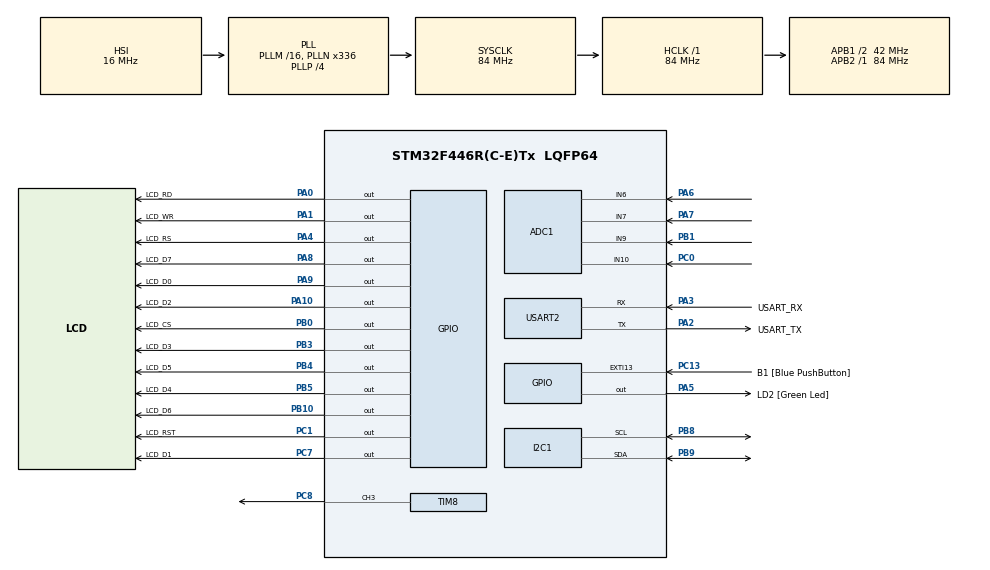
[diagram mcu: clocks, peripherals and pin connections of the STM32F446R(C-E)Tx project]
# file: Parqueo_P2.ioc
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ADC1.Channel-0\#ChannelRegularConversion=ADC_CHANNEL_6
ADC1.Channel-1\#ChannelRegularConversion=ADC_CHANNEL_7
ADC1.Channel-2\#ChannelRegularConversion=ADC_CHANNEL_9
ADC1.Channel-3\#ChannelRegularConversion=ADC_CHANNEL_10
ADC1.NbrOfConversion=4
ADC1.NbrOfConversionFlag=1
ADC1.Rank-0\#ChannelRegularConversion=1
ADC1.Rank-1\#ChannelRegularConversion=2
ADC1.Rank-2\#ChannelRegularConversion=3
ADC1.Rank-3\#ChannelRegularConversion=4
ADC1.SamplingTime-0\#ChannelRegularConversion=ADC_SAMPLETIME_3CYCLES
ADC1.SamplingTime-1\#ChannelRegularConversion=ADC_SAMPLETIME_3CYCLES
ADC1.SamplingTime-2\#ChannelRegularConversion=ADC_SAMPLETIME_3CYCLES
ADC1.SamplingTime-3\#ChannelRegularConversion=ADC_SAMPLETIME_3CYCLES
ADC1.master=1
Dma.ADC1.0.Direction=DMA_PERIPH_TO_MEMORY
Dma.ADC1.0.FIFOMode=DMA_FIFOMODE_DISABLE
Dma.ADC1.0.Instance=DMA2_Stream0
Dma.ADC1.0.MemDataAlignment=DMA_MDATAALIGN_WORD
Dma.ADC1.0.MemInc=DMA_MINC_ENABLE
Dma.ADC1.0.Mode=DMA_CIRCULAR
Dma.ADC1.0.PeriphDataAlignment=DMA_PDATAALIGN_WORD
Dma.ADC1.0.PeriphInc=DMA_PINC_DISABLE
Dma.ADC1.0.Priority=DMA_PRIORITY_LOW
Dma.Request0=ADC1
Dma.Request1=TIM8_CH3
Dma.TIM8_CH3.1.Direction=DMA_PERIPH_TO_MEMORY
Dma.TIM8_CH3.1.FIFOMode=DMA_FIFOMODE_DISABLE
Dma.TIM8_CH3.1.Instance=DMA2_Stream4
Dma.TIM8_CH3.1.MemDataAlignment=DMA_MDATAALIGN_HALFWORD
Dma.TIM8_CH3.1.MemInc=DMA_MINC_ENABLE
Dma.TIM8_CH3.1.Mode=DMA_NORMAL
Dma.TIM8_CH3.1.PeriphDataAlignment=DMA_PDATAALIGN_HALFWORD
Dma.TIM8_CH3.1.PeriphInc=DMA_PINC_DISABLE
Dma.TIM8_CH3.1.Priority=DMA_PRIORITY_LOW
Mcu.Family=STM32F4
Mcu.Name=STM32F446R(C-E)Tx
Mcu.Package=LQFP64
NVIC.DMA2_Stream0_IRQn=true\:0\:0\:false\:false\:true\:false\:true\:true
NVIC.DMA2_Stream4_IRQn=true\:0\:0\:false\:false\:true\:false\:true\:true
NVIC.PriorityGroup=NVIC_PRIORITYGROUP_0
NVIC.USART2_IRQn=true\:0\:0\:false\:false\:true\:true\:true\:true
PA0-WKUP.GPIO_Label=LCD_RD
PA0-WKUP.GPIO_Speed=GPIO_SPEED_FREQ_VERY_HIGH
PA0-WKUP.Signal=GPIO_Output
PA1.GPIO_Label=LCD_WR
PA1.GPIO_Speed=GPIO_SPEED_FREQ_VERY_HIGH
PA1.Signal=GPIO_Output
PA10.GPIO_Label=LCD_D2
PA10.GPIO_Speed=GPIO_SPEED_FREQ_VERY_HIGH
PA10.Signal=GPIO_Output
PA13.GPIO_Label=TMS
PA13.Mode=Serial_Wire
PA13.Signal=SYS_JTMS-SWDIO
PA14.GPIO_Label=TCK
PA14.Mode=Serial_Wire
PA14.Signal=SYS_JTCK-SWCLK
PA2.GPIO_Label=USART_TX
PA2.Mode=Asynchronous
PA2.Signal=USART2_TX
PA3.GPIO_Label=USART_RX
PA3.Mode=Asynchronous
PA3.Signal=USART2_RX
PA4.GPIO_Label=LCD_RS
PA4.GPIO_Speed=GPIO_SPEED_FREQ_VERY_HIGH
PA4.Signal=GPIO_Output
PA5.GPIO_Label=LD2 [Green Led]
PA5.Signal=GPIO_Output
PA6.Signal=ADCx_IN6
PA7.Signal=ADCx_IN7
PA8.GPIO_Label=LCD_D7
PA8.GPIO_Speed=GPIO_SPEED_FREQ_VERY_HIGH
PA8.Signal=GPIO_Output
PA9.GPIO_Label=LCD_D0
PA9.GPIO_Speed=GPIO_SPEED_FREQ_VERY_HIGH
PA9.Signal=GPIO_Output
PB0.GPIO_Label=LCD_CS
PB0.GPIO_Speed=GPIO_SPEED_FREQ_VERY_HIGH
PB0.Signal=GPIO_Output
PB1.Signal=ADCx_IN9
PB10.GPIO_Label=LCD_D6
PB10.GPIO_Speed=GPIO_SPEED_FREQ_VERY_HIGH
PB10.Signal=GPIO_Output
PB3.GPIO_Label=LCD_D3
PB3.GPIO_Speed=GPIO_SPEED_FREQ_VERY_HIGH
PB3.Signal=GPIO_Output
PB4.GPIO_Label=LCD_D5
PB4.GPIO_Speed=GPIO_SPEED_FREQ_VERY_HIGH
PB4.Signal=GPIO_Output
PB5.GPIO_Label=LCD_D4
PB5.GPIO_Speed=GPIO_SPEED_FREQ_VERY_HIGH
PB5.Signal=GPIO_Output
PB8.Mode=I2C
PB8.Signal=I2C1_SCL
PB9.Mode=I2C
PB9.Signal=I2C1_SDA
PC0.Signal=ADCx_IN10
PC1.GPIO_Label=LCD_RST
PC1.GPIO_Speed=GPIO_SPEED_FREQ_VERY_HIGH
PC1.Signal=GPIO_Output
PC13.GPIO_Label=B1 [Blue PushButton]
PC13.GPIO_ModeDefaultEXTI=GPIO_MODE_IT_FALLING
PC13.Signal=GPXTI13
PC14-OSC32_IN.Mode=LSE-External-Oscillator
PC14-OSC32_IN.Signal=RCC_OSC32_IN
PC15-OSC32_OUT.Mode=LSE-External-Oscillator
PC15-OSC32_OUT.Signal=RCC_OSC32_OUT
PC7.GPIO_Label=LCD_D1
PC7.GPIO_Speed=GPIO_SPEED_FREQ_VERY_HIGH
PC7.Signal=GPIO_Output
PC8.GPIO_Speed=GPIO_SPEED_FREQ_VERY_HIGH
PC8.Signal=S_TIM8_CH3
PH0-OSC_IN.Mode=HSE-External-Oscillator
PH0-OSC_IN.Signal=RCC_OSC_IN
PH1-OSC_OUT.Mode=HSE-External-Oscillator
PH1-OSC_OUT.Signal=RCC_OSC_OUT
ProjectManager.HeapSize=0x200
ProjectManager.StackSize=0x400
ProjectManager.TargetToolchain=STM32CubeIDE
RCC.48MHZClocksFreq_Value=84000000
RCC.AHBFreq_Value=84000000
RCC.APB1CLKDivider=RCC_HCLK_DIV2
RCC.APB1Freq_Value=42000000
RCC.APB1TimFreq_Value=84000000
RCC.APB2Freq_Value=84000000
RCC.APB2TimFreq_Value=84000000
RCC.CortexFreq_Value=84000000
RCC.FLatency-AdvancedSettings=FLASH_LATENCY_2
RCC.HCLKFreq_Value=84000000
RCC.HSE_VALUE=8000000
RCC.HSI_VALUE=16000000
RCC.PLLN=336
RCC.PLLP=RCC_PLLP_DIV4
RCC.SYSCLKFreq_VALUE=84000000
RCC.SYSCLKSource=RCC_SYSCLKSOURCE_PLLCLK
RCC.USBFreq_Value=168000000
RCC.VCOOutputFreq_Value=336000000
SH.ADCx_IN10.0=ADC1_IN10,IN10
SH.ADCx_IN6.0=ADC1_IN6,IN6
SH.ADCx_IN7.0=ADC1_IN7,IN7
SH.ADCx_IN9.0=ADC1_IN9,IN9
SH.S_TIM8_CH3.0=TIM8_CH3,PWM Generation3 CH3
TIM8.Channel-PWM\ Generation3\ CH3=TIM_CHANNEL_3
TIM8.Period=105-1
TIM8.Prescaler=1-1
USART2.VirtualMode=VM_ASYNC
board=NUCLEO-F446RE

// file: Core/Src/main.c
/* USER CODE BEGIN Header */
/**
  ******************************************************************************
  * @file           : main.c
  * @brief          : Main program body
  ******************************************************************************
  * @attention
  *
  * Copyright (c) 2026 STMicroelectronics.
  * All rights reserved.
  *
  * This software is licensed under terms that can be found in the LICENSE file
  * in the root directory of this software component.
  * If no LICENSE file comes with this software, it is provided AS-IS.
  *
  ******************************************************************************
  */
/* USER CODE END Header */
#include "main.h"

/* USER CODE BEGIN Includes */
#include "ili9341.h"
#include "parqueo_gui.h"
#include "font.h"
#include "assets.h"  // Si vas a usar imágenes
#include <stdio.h>   // Para manejo de strings si usas sprintf
#include "neopixel.h"
/* USER CODE END Includes */

ADC_HandleTypeDef hadc1;
DMA_HandleTypeDef hdma_adc1;

I2C_HandleTypeDef hi2c1;

TIM_HandleTypeDef htim8;
DMA_HandleTypeDef hdma_tim8_ch3;

UART_HandleTypeDef huart2;

/* USER CODE BEGIN PV */
uint8_t estado_parqueo[8] = {0,0,0,0,0,0,0,0}; // Array maestro
uint8_t actualizar_pantalla = 0; // Bandera para el main

// Variables para ADC y NeoPixels del Maestro
uint32_t adc_buffer_maestro[4];
const uint32_t LDR_THRESHOLD = 2000;

// Variable global exigida por la librería neopixel.c
float brilloled = 50.0f; // Inicializado al 50% de brillo

// Variables para la máquina de estados UART
uint8_t byte_rx;
char cmd_letra = 0;
/* USER CODE END PV */

void SystemClock_Config(void);
static void MX_GPIO_Init(void);
static void MX_DMA_Init(void);
static void MX_USART2_UART_Init(void);
static void MX_ADC1_Init(void);
static void MX_I2C1_Init(void);
static void MX_TIM8_Init(void);

int main(void)
{

  /* MCU Configuration--------------------------------------------------------*/

  /* Reset of all peripherals, Initializes the Flash interface and the Systick. */
  HAL_Init();

  /* Configure the system clock */
  SystemClock_Config();

  /* Initialize all configured peripherals */
  MX_GPIO_Init();
  MX_DMA_Init();
  MX_USART2_UART_Init();
  MX_ADC1_Init();
  MX_I2C1_Init();
  MX_TIM8_Init();
  /* USER CODE BEGIN 2 */
  // 1. Inicializar la pantalla y pintar el estado inicial
  LCD_Init();
  GUI_Inicializar();
  GUI_Actualizar(estado_parqueo);

  // 2. Inicializar los nuevos NeoPixels
  pixelClear();
  setBrightness(50);
  __HAL_TIM_MOE_ENABLE(&htim8); // Habilitación obligatoria para TIM8

  // 3. Iniciar lectura continua de los 4 sensores físicos
  HAL_ADC_Start_DMA(&hadc1, (uint32_t*)adc_buffer_maestro, 4);

  // 4. Iniciar la escucha del primer byte por UART
  HAL_UART_Receive_IT(&huart2, &byte_rx, 1);
  /* USER CODE END 2 */

  /* Infinite loop */
  /* USER CODE BEGIN WHILE */
  while (1)
  {
	  HAL_ADC_Start_DMA(&hadc1, (uint32_t*)adc_buffer_maestro, 4);

      uint8_t estado_esclavo = 0;
      uint8_t estado_anterior[8];
      uint8_t actualizar_pantalla = 0; // Asegurar inicialización

      // 0. Guardamos una copia del estado actual
      for(int i = 0; i < 8; i++) {
          estado_anterior[i] = estado_parqueo[i];
      }

      // 1. LEER SENSORES LOCALES Y ACTUALIZAR NEOPIXELS (Cajones 1 al 4)
      // NOTA: Si notas parpadeo en la pantalla, considera agregar una pequeña histéresis aquí
      for (int i = 0; i < 4; i++) {
          if (adc_buffer_maestro[i] < LDR_THRESHOLD) {
              estado_parqueo[i] = 1; // Ocupado
              setPixelColor(i, 255, 0, 0);
          } else {
              estado_parqueo[i] = 0; // Libre
              setPixelColor(i, 0, 255, 0);
          }
      }

      // =================================================================
      // 1.5 TRANSMISIÓN DE LA TABLA POR UART (¡Ahora correrá continuo!)
      // =================================================================
      uint8_t state = (estado_parqueo[3] << 3) | (estado_parqueo[2] << 2) | (estado_parqueo[1] << 1) | estado_parqueo[0];
      char uart_buf[100];
      sprintf(uart_buf, "| CH0: %04lu | CH1: %04lu | CH2: %04lu | CH3: %04lu | SENSORS: %d%d%d%d | HEX: 0x%X |\r\n",
              adc_buffer_maestro[0], adc_buffer_maestro[1], adc_buffer_maestro[2], adc_buffer_maestro[3],
              estado_parqueo[3], estado_parqueo[2], estado_parqueo[1], estado_parqueo[0],
              state);

      // Transmisión UART con timeout corto (10ms es más que suficiente para 100 bytes a 115200bps)
      HAL_UART_Transmit(&huart2, (uint8_t*)uart_buf, strlen(uart_buf), 10);
      // =================================================================

      //pixelShow(); BLOQUEANTEEEE!!!!!

      // 2. SOLICITAR DATOS I2C A LA NUCLEO 2 (Dirección 36)
      // Reducimos el timeout a 10ms para que no congele el loop principal
      if (HAL_I2C_Master_Receive(&hi2c1, 36, &estado_esclavo, 1, 10) == HAL_OK) {

          // El esclavo respondió con éxito, procesamos sus datos
          estado_parqueo[4] = (estado_esclavo & 0x01) ? 1 : 0;
          estado_parqueo[5] = (estado_esclavo & 0x02) ? 1 : 0;
          estado_parqueo[6] = (estado_esclavo & 0x04) ? 1 : 0;
          estado_parqueo[7] = (estado_esclavo & 0x08) ? 1 : 0;

          // 3. CALCULAR EL TOTAL DE ESPACIOS LIBRES GLOBALES
          uint8_t libres_totales = 0;
          for (int i = 0; i < 8; i++) {
              if (estado_parqueo[i] == 0) {
                  libres_totales++;
              }
          }

          // 4. ENVIAR EL TOTAL AL ESCLAVO (Solo se ejecuta si el esclavo está vivo)
          HAL_I2C_Master_Transmit(&hi2c1, 36, &libres_totales, 1, 10);
      }
      else {
          // CORRECCIÓN CRÍTICA: Si el I2C falla, reiniciamos el periférico
          // para evitar que el HAL se quede trabado en el estado BUSY para siempre.
          __HAL_I2C_DISABLE(&hi2c1);
          __HAL_I2C_ENABLE(&hi2c1);
      }

      // 5. EVALUAR SI HUBO CAMBIOS PARA LA INTERFAZ GRÁFICA
      for(int i = 0; i < 8; i++) {
          if(estado_anterior[i] != estado_parqueo[i]) {
              actualizar_pantalla = 1;
              break;
          }
      }

      if (actualizar_pantalla) {
          GUI_Actualizar(estado_parqueo);
          actualizar_pantalla = 0;
      }

      // 7. RITMO DEL SISTEMA
      HAL_Delay(50);

    /* USER CODE END WHILE */

  }
}

void SystemClock_Config(void)
{
  RCC_OscInitTypeDef RCC_OscInitStruct = {0};
  RCC_ClkInitTypeDef RCC_ClkInitStruct = {0};

  /** Configure the main internal regulator output voltage
  */
  __HAL_RCC_PWR_CLK_ENABLE();
  __HAL_PWR_VOLTAGESCALING_CONFIG(PWR_REGULATOR_VOLTAGE_SCALE3);

  /** Initializes the RCC Oscillators according to the specified parameters
  * in the RCC_OscInitTypeDef structure.
  */
  RCC_OscInitStruct.OscillatorType = RCC_OSCILLATORTYPE_HSI;
  RCC_OscInitStruct.HSIState = RCC_HSI_ON;
  RCC_OscInitStruct.HSICalibrationValue = RCC_HSICALIBRATION_DEFAULT;
  RCC_OscInitStruct.PLL.PLLState = RCC_PLL_ON;
  RCC_OscInitStruct.PLL.PLLSource = RCC_PLLSOURCE_HSI;
  RCC_OscInitStruct.PLL.PLLM = 16;
  RCC_OscInitStruct.PLL.PLLN = 336;
  RCC_OscInitStruct.PLL.PLLP = RCC_PLLP_DIV4;
  RCC_OscInitStruct.PLL.PLLQ = 2;
  RCC_OscInitStruct.PLL.PLLR = 2;
  if (HAL_RCC_OscConfig(&RCC_OscInitStruct) != HAL_OK)
  {
    Error_Handler();
  }

  /** Initializes the CPU, AHB and APB buses clocks
  */
  RCC_ClkInitStruct.ClockType = RCC_CLOCKTYPE_HCLK|RCC_CLOCKTYPE_SYSCLK
                              |RCC_CLOCKTYPE_PCLK1|RCC_CLOCKTYPE_PCLK2;
  RCC_ClkInitStruct.SYSCLKSource = RCC_SYSCLKSOURCE_PLLCLK;
  RCC_ClkInitStruct.AHBCLKDivider = RCC_SYSCLK_DIV1;
  RCC_ClkInitStruct.APB1CLKDivider = RCC_HCLK_DIV2;
  RCC_ClkInitStruct.APB2CLKDivider = RCC_HCLK_DIV1;

  if (HAL_RCC_ClockConfig(&RCC_ClkInitStruct, FLASH_LATENCY_2) != HAL_OK)
  {
    Error_Handler();
  }
}

static void MX_ADC1_Init(void)
{

  ADC_ChannelConfTypeDef sConfig = {0};

  /** Configure the global features of the ADC (Clock, Resolution, Data Alignment and number of conversion)
  */
  hadc1.Instance = ADC1;
  hadc1.Init.ClockPrescaler = ADC_CLOCK_SYNC_PCLK_DIV4;
  hadc1.Init.Resolution = ADC_RESOLUTION_12B;
  hadc1.Init.ScanConvMode = ENABLE;
  hadc1.Init.ContinuousConvMode = DISABLE;
  hadc1.Init.DiscontinuousConvMode = DISABLE;
  hadc1.Init.ExternalTrigConvEdge = ADC_EXTERNALTRIGCONVEDGE_NONE;
  hadc1.Init.ExternalTrigConv = ADC_SOFTWARE_START;
  hadc1.Init.DataAlign = ADC_DATAALIGN_RIGHT;
  hadc1.Init.NbrOfConversion = 4;
  hadc1.Init.DMAContinuousRequests = DISABLE;
  hadc1.Init.EOCSelection = ADC_EOC_SINGLE_CONV;
  if (HAL_ADC_Init(&hadc1) != HAL_OK)
  {
    Error_Handler();
  }

  /** Configure for the selected ADC regular channel its corresponding rank in the sequencer and its sample time.
  */
  sConfig.Channel = ADC_CHANNEL_6;
  sConfig.Rank = 1;
  sConfig.SamplingTime = ADC_SAMPLETIME_3CYCLES;
  if (HAL_ADC_ConfigChannel(&hadc1, &sConfig) != HAL_OK)
  {
    Error_Handler();
  }

  /** Configure for the selected ADC regular channel its corresponding rank in the sequencer and its sample time.
  */
  sConfig.Channel = ADC_CHANNEL_7;
  sConfig.Rank = 2;
  if (HAL_ADC_ConfigChannel(&hadc1, &sConfig) != HAL_OK)
  {
    Error_Handler();
  }

  /** Configure for the selected ADC regular channel its corresponding rank in the sequencer and its sample time.
  */
  sConfig.Channel = ADC_CHANNEL_9;
  sConfig.Rank = 3;
  if (HAL_ADC_ConfigChannel(&hadc1, &sConfig) != HAL_OK)
  {
    Error_Handler();
  }

  /** Configure for the selected ADC regular channel its corresponding rank in the sequencer and its sample time.
  */
  sConfig.Channel = ADC_CHANNEL_10;
  sConfig.Rank = 4;
  if (HAL_ADC_ConfigChannel(&hadc1, &sConfig) != HAL_OK)
  {
    Error_Handler();
  }

}

static void MX_I2C1_Init(void)
{

  hi2c1.Instance = I2C1;
  hi2c1.Init.ClockSpeed = 100000;
  hi2c1.Init.DutyCycle = I2C_DUTYCYCLE_2;
  hi2c1.Init.OwnAddress1 = 0;
  hi2c1.Init.AddressingMode = I2C_ADDRESSINGMODE_7BIT;
  hi2c1.Init.DualAddressMode = I2C_DUALADDRESS_DISABLE;
  hi2c1.Init.OwnAddress2 = 0;
  hi2c1.Init.GeneralCallMode = I2C_GENERALCALL_DISABLE;
  hi2c1.Init.NoStretchMode = I2C_NOSTRETCH_DISABLE;
  if (HAL_I2C_Init(&hi2c1) != HAL_OK)
  {
    Error_Handler();
  }

}

static void MX_TIM8_Init(void)
{

  TIM_MasterConfigTypeDef sMasterConfig = {0};
  TIM_OC_InitTypeDef sConfigOC = {0};
  TIM_BreakDeadTimeConfigTypeDef sBreakDeadTimeConfig = {0};

  htim8.Instance = TIM8;
  htim8.Init.Prescaler = 1-1;
  htim8.Init.CounterMode = TIM_COUNTERMODE_UP;
  htim8.Init.Period = 105-1;
  htim8.Init.ClockDivision = TIM_CLOCKDIVISION_DIV1;
  htim8.Init.RepetitionCounter = 0;
  htim8.Init.AutoReloadPreload = TIM_AUTORELOAD_PRELOAD_DISABLE;
  if (HAL_TIM_PWM_Init(&htim8) != HAL_OK)
  {
    Error_Handler();
  }
  sMasterConfig.MasterOutputTrigger = TIM_TRGO_RESET;
  sMasterConfig.MasterSlaveMode = TIM_MASTERSLAVEMODE_DISABLE;
  if (HAL_TIMEx_MasterConfigSynchronization(&htim8, &sMasterConfig) != HAL_OK)
  {
    Error_Handler();
  }
  sConfigOC.OCMode = TIM_OCMODE_PWM1;
  sConfigOC.Pulse = 0;
  sConfigOC.OCPolarity = TIM_OCPOLARITY_HIGH;
  sConfigOC.OCNPolarity = TIM_OCNPOLARITY_HIGH;
  sConfigOC.OCFastMode = TIM_OCFAST_DISABLE;
  sConfigOC.OCIdleState = TIM_OCIDLESTATE_RESET;
  sConfigOC.OCNIdleState = TIM_OCNIDLESTATE_RESET;
  if (HAL_TIM_PWM_ConfigChannel(&htim8, &sConfigOC, TIM_CHANNEL_3) != HAL_OK)
  {
    Error_Handler();
  }
  sBreakDeadTimeConfig.OffStateRunMode = TIM_OSSR_DISABLE;
  sBreakDeadTimeConfig.OffStateIDLEMode = TIM_OSSI_DISABLE;
  sBreakDeadTimeConfig.LockLevel = TIM_LOCKLEVEL_OFF;
  sBreakDeadTimeConfig.DeadTime = 0;
  sBreakDeadTimeConfig.BreakState = TIM_BREAK_DISABLE;
  sBreakDeadTimeConfig.BreakPolarity = TIM_BREAKPOLARITY_HIGH;
  sBreakDeadTimeConfig.AutomaticOutput = TIM_AUTOMATICOUTPUT_DISABLE;
  if (HAL_TIMEx_ConfigBreakDeadTime(&htim8, &sBreakDeadTimeConfig) != HAL_OK)
  {
    Error_Handler();
  }
  HAL_TIM_MspPostInit(&htim8);

}

static void MX_USART2_UART_Init(void)
{

  huart2.Instance = USART2;
  huart2.Init.BaudRate = 115200;
  huart2.Init.WordLength = UART_WORDLENGTH_8B;
  huart2.Init.StopBits = UART_STOPBITS_1;
  huart2.Init.Parity = UART_PARITY_NONE;
  huart2.Init.Mode = UART_MODE_TX_RX;
  huart2.Init.HwFlowCtl = UART_HWCONTROL_NONE;
  huart2.Init.OverSampling = UART_OVERSAMPLING_16;
  if (HAL_UART_Init(&huart2) != HAL_OK)
  {
    Error_Handler();
  }

}

static void MX_DMA_Init(void)
{

  /* DMA controller clock enable */
  __HAL_RCC_DMA2_CLK_ENABLE();

  /* DMA interrupt init */
  /* DMA2_Stream0_IRQn interrupt configuration */
  HAL_NVIC_SetPriority(DMA2_Stream0_IRQn, 0, 0);
  HAL_NVIC_EnableIRQ(DMA2_Stream0_IRQn);
  /* DMA2_Stream4_IRQn interrupt configuration */
  HAL_NVIC_SetPriority(DMA2_Stream4_IRQn, 0, 0);
  HAL_NVIC_EnableIRQ(DMA2_Stream4_IRQn);

}

static void MX_GPIO_Init(void)
{
  GPIO_InitTypeDef GPIO_InitStruct = {0};

  /* GPIO Ports Clock Enable */
  __HAL_RCC_GPIOC_CLK_ENABLE();
  __HAL_RCC_GPIOH_CLK_ENABLE();
  __HAL_RCC_GPIOA_CLK_ENABLE();
  __HAL_RCC_GPIOB_CLK_ENABLE();

  /*Configure GPIO pin Output Level */
  HAL_GPIO_WritePin(GPIOC, LCD_RST_Pin|LCD_D1_Pin, GPIO_PIN_RESET);

  /*Configure GPIO pin Output Level */
  HAL_GPIO_WritePin(GPIOA, LCD_RD_Pin|LCD_WR_Pin|LCD_RS_Pin|LD2_Pin
                          |LCD_D7_Pin|LCD_D0_Pin|LCD_D2_Pin, GPIO_PIN_RESET);

  /*Configure GPIO pin Output Level */
  HAL_GPIO_WritePin(GPIOB, LCD_CS_Pin|LCD_D6_Pin|LCD_D3_Pin|LCD_D5_Pin
                          |LCD_D4_Pin, GPIO_PIN_RESET);

  /*Configure GPIO pin : B1_Pin */
  GPIO_InitStruct.Pin = B1_Pin;
  GPIO_InitStruct.Mode = GPIO_MODE_IT_FALLING;
  GPIO_InitStruct.Pull = GPIO_NOPULL;
  HAL_GPIO_Init(B1_GPIO_Port, &GPIO_InitStruct);

  /*Configure GPIO pins : LCD_RST_Pin LCD_D1_Pin */
  GPIO_InitStruct.Pin = LCD_RST_Pin|LCD_D1_Pin;
  GPIO_InitStruct.Mode = GPIO_MODE_OUTPUT_PP;
  GPIO_InitStruct.Pull = GPIO_NOPULL;
  GPIO_InitStruct.Speed = GPIO_SPEED_FREQ_VERY_HIGH;
  HAL_GPIO_Init(GPIOC, &GPIO_InitStruct);

  /*Configure GPIO pins : LCD_RD_Pin LCD_WR_Pin LCD_RS_Pin LCD_D7_Pin
                           LCD_D0_Pin LCD_D2_Pin */
  GPIO_InitStruct.Pin = LCD_RD_Pin|LCD_WR_Pin|LCD_RS_Pin|LCD_D7_Pin
                          |LCD_D0_Pin|LCD_D2_Pin;
  GPIO_InitStruct.Mode = GPIO_MODE_OUTPUT_PP;
  GPIO_InitStruct.Pull = GPIO_NOPULL;
  GPIO_InitStruct.Speed = GPIO_SPEED_FREQ_VERY_HIGH;
  HAL_GPIO_Init(GPIOA, &GPIO_InitStruct);

  /*Configure GPIO pin : LD2_Pin */
  GPIO_InitStruct.Pin = LD2_Pin;
  GPIO_InitStruct.Mode = GPIO_MODE_OUTPUT_PP;
  GPIO_InitStruct.Pull = GPIO_NOPULL;
  GPIO_InitStruct.Speed = GPIO_SPEED_FREQ_LOW;
  HAL_GPIO_Init(LD2_GPIO_Port, &GPIO_InitStruct);

  /*Configure GPIO pins : LCD_CS_Pin LCD_D6_Pin LCD_D3_Pin LCD_D5_Pin
                           LCD_D4_Pin */
  GPIO_InitStruct.Pin = LCD_CS_Pin|LCD_D6_Pin|LCD_D3_Pin|LCD_D5_Pin
                          |LCD_D4_Pin;
  GPIO_InitStruct.Mode = GPIO_MODE_OUTPUT_PP;
  GPIO_InitStruct.Pull = GPIO_NOPULL;
  GPIO_InitStruct.Speed = GPIO_SPEED_FREQ_VERY_HIGH;
  HAL_GPIO_Init(GPIOB, &GPIO_InitStruct);

}

/* USER CODE BEGIN 4 */
void HAL_UART_RxCpltCallback(UART_HandleTypeDef *huart) {
    if (huart->Instance == USART2) {

        // 1. Convertir minúsculas a mayúsculas para ser a prueba de errores
        if(byte_rx >= 'a' && byte_rx <= 'z') byte_rx -= 32;

        // 2. Si recibimos 'A' o 'B', la guardamos y esperamos el número
        if (byte_rx == 'A' || byte_rx == 'B') {
            cmd_letra = byte_rx;
        }
        // 3. Si ya teníamos la letra guardada, y llega un número válido (1 al 4)
        else if (cmd_letra != 0 && byte_rx >= '1' && byte_rx <= '4') {

            int numero = byte_rx - '1'; // Convierte '1' en 0, '2' en 1, etc.
            int indice = (cmd_letra == 'A') ? numero : (numero + 4);

            // Hacemos Toggle (si estaba en 0 pasa a 1, y viceversa)
            estado_parqueo[indice] = !estado_parqueo[indice];

            // Levantamos bandera para que la pantalla se actualice en el main
            actualizar_pantalla = 1;

            // Feedback a la terminal de tu PC
            char msg[40];
            sprintf(msg, "\r\n[+] Cajon %c%c -> %s\r\n", cmd_letra, byte_rx,
                    estado_parqueo[indice] ? "OCUPADO" : "LIBRE");
            HAL_UART_Transmit(&huart2, (uint8_t*)msg, strlen(msg), 50);

            // Reseteamos la letra para esperar el próximo comando limpio
            cmd_letra = 0;
        }
        // 4. Si llega cualquier otra basura (como un Enter \r o \n), reseteamos
        else {
            cmd_letra = 0;
        }

        // Volvemos a escuchar 1 solo byte
        HAL_UART_Receive_IT(&huart2, &byte_rx, 1);
    }
}
/* USER CODE END 4 */

void Error_Handler(void)
{
  __disable_irq();
  while (1)
  {
  }
}
